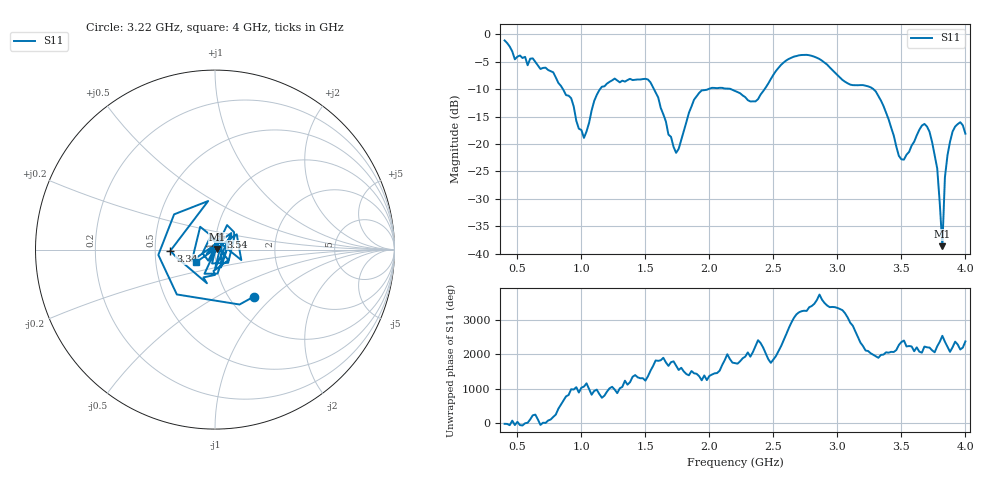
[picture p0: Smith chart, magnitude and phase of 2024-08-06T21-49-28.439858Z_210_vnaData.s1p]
!Created with skrf (http://scikit-rf.org).
# Hz S RI R 50.0
!freq ReS11 ImS11
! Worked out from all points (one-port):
!   181 points, 400 MHz to 4 GHz, reference 50 ohm
!   lowest |S11| = -38.6 dB at 3.82 GHz (marker M1), VSWR 1.02, Z = 51.1 + j0.327 ohm
!   |S11| at or under -10 dB: 855.4 MHz to 1.146 GHz (290.8 MHz wide, 29.1 % of centre); 1.566 GHz to 1.992 GHz (425.9 MHz wide, 23.9 % of centre); 3.281 GHz to end of sweep (the widest 3 of 4)
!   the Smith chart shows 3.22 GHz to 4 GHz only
!   S11 on the Smith chart (normalised r, x): 3.22 GHz: 1.29, -0.77; 3.34 GHz: 0.60, -0.01; 3.54 GHz: 1.05, +0.16; 4 GHz: 0.81, -0.11
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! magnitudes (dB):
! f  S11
! 400 MHz  -1.1
! 480 MHz  -4.6
! 620 MHz  -4.4
! 860 MHz  -10.2
! 1.02 GHz  -18.9
! 1.14 GHz  -10.2
! 1.3 GHz  -8.8
! 1.52 GHz  -8.3
! 1.76 GHz  -20.9
! 1.92 GHz  -10.7
! 2.2 GHz  -10.3
! 2.36 GHz  -12.2
! 2.66 GHz  -4.1
! 2.86 GHz  -4.5
! 3.1 GHz  -9.2
! 3.22 GHz  -9.4
! 3.34 GHz  -12.1
! 3.48 GHz  -22.2
! 3.54 GHz  -22.0
! 3.56 GHz  -21.5
! 3.66 GHz  -16.7
! 3.72 GHz  -17.8
! 3.78 GHz  -24.5
! 3.82 GHz  -38.6
! 3.84 GHz  -26.1
! 3.88 GHz  -19.6
! 3.96 GHz  -16.0
! 4 GHz  -18.1
